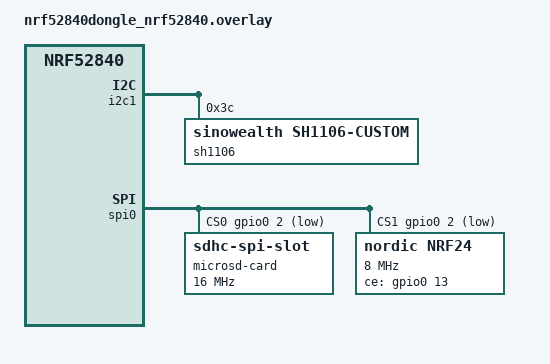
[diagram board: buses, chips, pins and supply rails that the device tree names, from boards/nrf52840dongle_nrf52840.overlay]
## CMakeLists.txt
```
# SPDX-License-Identifier: Apache-2.0

cmake_minimum_required(VERSION 3.20.0)

list(APPEND EXTRA_ZEPHYR_MODULES
 "/users/pdlsurya/documents/EmbeddedProjects/ZephyrRTOS")

find_package(Zephyr REQUIRED HINTS $ENV{ZEPHYR_BASE})
project(ipsp)

target_sources(app PRIVATE
  src/main.c
  src/net_ble/net_ble.c
  src/ntp_clock/ntp_clock.c
)

target_include_directories(app PRIVATE 
src/net_ble
src/ntp_clock)
```

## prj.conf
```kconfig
CONFIG_BT=y
CONFIG_LOG=y
CONFIG_BT_SMP=y
CONFIG_BT_PERIPHERAL=y
CONFIG_BT_CENTRAL=y
CONFIG_BT_L2CAP_DYNAMIC_CHANNEL=y
CONFIG_BT_DEVICE_NAME="IPSP Node-2"
CONFIG_NETWORKING=y
CONFIG_NET_IPV6=y
CONFIG_NET_UDP=y
CONFIG_TEST_RANDOM_GENERATOR=y
CONFIG_NET_LOG=y
CONFIG_NET_L2_BT=y
CONFIG_INIT_STACKS=y
CONFIG_NET_STATISTICS=y
CONFIG_NET_PKT_RX_COUNT=10
CONFIG_NET_PKT_TX_COUNT=10
CONFIG_NET_BUF_RX_COUNT=20
CONFIG_NET_BUF_TX_COUNT=20
CONFIG_NET_IF_UNICAST_IPV6_ADDR_COUNT=5
CONFIG_NET_IF_MCAST_IPV6_ADDR_COUNT=4
CONFIG_NET_MAX_CONTEXTS=6

CONFIG_NET_SHELL=y
CONFIG_BT_SHELL=y

CONFIG_NET_CONFIG_AUTO_INIT=y
CONFIG_NET_CONFIG_SETTINGS=y
CONFIG_NET_CONFIG_BT_NODE=y
CONFIG_SHELL_BACKEND_SERIAL_RX_RING_BUFFER_SIZE=256
CONFIG_USB_DEVICE_STACK=y
CONFIG_USB_DEVICE_PRODUCT="Surya's USB dongle"
CONFIG_USB_DEVICE_PID=0x0004
CONFIG_USB_DEVICE_INITIALIZE_AT_BOOT=y
CONFIG_MAIN_STACK_SIZE=2048
CONFIG_GPIO=y
CONFIG_DISPLAY=y
CONFIG_OLED_SH1106=y
CONFIG_SH1106_GFX=y

CONFIG_BT_GATT_CLIENT=y
CONFIG_BT_MAX_CONN=1

CONFIG_BT_L2CAP_TX_MTU=247
CONFIG_BT_BUF_ACL_RX_SIZE=251
```

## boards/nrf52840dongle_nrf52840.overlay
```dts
&i2c1 {
    status = "okay";
    sh1106:sh1106@3c{
        compatible="sinowealth,sh1106-custom";
        status="okay";
        reg=<0x3c>;
    }; 
};

&i2c0 {
    status = "disabled";
};

&spi1 {
    status = "disabled";
};

&spi0 {
    status = "okay";
    cs-gpios = < &gpio0 2 GPIO_ACTIVE_LOW >,< &gpio0 2 GPIO_ACTIVE_LOW >;
    microsd:microsd@0{
     compatible ="zephyr,sdhc-spi-slot";
     spi-max-frequency= <16000000>;
     status="okay";
     reg = <0>;
     label = "microsd-card";
    };
    
    nrf24:nrf24@1{
        compatible="nordic,nrf24";
        reg=<1>;
        spi-max-frequency=<8000000>;
        ce-gpios=<&gpio0 13 GPIO_ACTIVE_HIGH>;
        status="okay";
        label = "nrf24";
    };
};
```

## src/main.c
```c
/* main.c - Application main entry point */

/*
 * Copyright (c) 2015-2016 Intel Corporation
 *
 * SPDX-License-Identifier: Apache-2.0
 */

#include <zephyr/kernel.h>
#include <zephyr/init.h>
#include <zephyr/linker/sections.h>
#include <errno.h>
#include <stdio.h>
#include <zephyr/drivers/gpio.h>
#include <zephyr/net/net_pkt.h>
#include <zephyr/net/net_if.h>
#include <zephyr/net/net_core.h>
#include <zephyr/net/net_context.h>
#include <zephyr/net/udp.h>
#include <zephyr/console/console.h>
#include <net_ble.h>
#include <zephyr/net/dns_resolve.h>

#include <zephyr/bluetooth/bluetooth.h>
#include <zephyr/bluetooth/hci.h>
#include <zephyr/bluetooth/conn.h>
#include <zephyr/bluetooth/uuid.h>
#include <zephyr/bluetooth/gatt.h>
#include <zephyr/sys/byteorder.h>
#include <ntp_clock.h>
#include <sh1106_gfx.h>
#include <nordic_logo.h>

#define LED0_NODE DT_ALIAS(led0)

static const struct gpio_dt_spec adv_led = GPIO_DT_SPEC_GET(DT_ALIAS(led3), gpios);
static const struct gpio_dt_spec conn_led = GPIO_DT_SPEC_GET(DT_ALIAS(led2), gpios);

const struct device *sh1106 = DEVICE_DT_GET(DT_NODELABEL(sh1106));

/* Custom Service Variables */
#define BT_UUID_CUSTOM_SERVICE_VAL \
	BT_UUID_128_ENCODE(0x12345678, 0x1234, 0x5678, 0x1234, 0x56789abcdef0)

#define BT_UUID_CUSTOM_SERVICE BT_UUID_DECLARE_128(BT_UUID_CUSTOM_SERVICE_VAL)

#define BT_UUID_CHRC1 BT_UUID_DECLARE_128(BT_UUID_128_ENCODE(0x12345678, 0x1234, 0x5678, 0x1234, 0x56789abcdef2))

#define BT_UUID_CHRC2 BT_UUID_DECLARE_128(BT_UUID_128_ENCODE(0x12345678, 0x1234, 0x5678, 0x1234, 0x56789abcdef1))

struct in6_addr dest_addr6 = {{{0x20, 0x01, 0x0d, 0xb8, 0x00, 0x00, 0x00, 0x00, 0xef, 0xac, 0xb0, 0xff, 0xfe, 0x2f, 0xbd, 0xef}}};

static const struct bt_data ad[] = {
	BT_DATA_BYTES(BT_DATA_FLAGS, (BT_LE_AD_GENERAL | BT_LE_AD_NO_BREDR)),
	BT_DATA_BYTES(BT_DATA_UUID16_ALL, BT_UUID_16_ENCODE(BT_UUID_IPSS_VAL))};

static char write_msg[23] = "";
static char udp_msg[] = "Hello from 6LoWPAN node-2";
static uint8_t write_cnt;
static void start_scan(void);

static struct bt_conn *default_conn;
static struct bt_conn *connections[CONFIG_BT_MAX_CONN];
static uint8_t connection_cnt = 0;

static struct bt_uuid_128 uuid = BT_UUID_INIT_128(0);
static struct bt_gatt_discover_params discover_params;
static struct bt_gatt_subscribe_params subscribe_params;
static struct bt_gatt_write_params write_params;
static struct bt_gatt_read_params read_params;
static struct bt_gatt_exchange_params mtu_exchange_params;
bool mtu_exchange_done = false;

#define SCAN_INTERVAL 160	 /* 1000 ms */
#define SCAN_WINDOW 0x0030	 /* 30 ms */
#define INIT_INTERVAL 0x0020 /* 10 ms */
#define INIT_WINDOW 0x0020	 /* 10 ms */
#define CONN_INTERVAL 40	 /* 50 ms */
#define CONN_LATENCY 0
#define CONN_TIMEOUT 50

uint16_t chrc2_value_handle = 18;
uint16_t chrc1_value_handle = 20;
uint16_t chrc1_ccc_handle = 21;

uint8_t seconds;

#define DNS_TIMEOUT (2 * MSEC_PER_SEC)

void set_conn_led()
{
	gpio_pin_set_dt(&conn_led, 1);
	gpio_pin_set_dt(&adv_led, 0);
}

void set_adv_led()
{
	gpio_pin_set_dt(&adv_led, 1);
	gpio_pin_set_dt(&conn_led, 0);
}

static uint8_t notify_func(struct bt_conn *conn,
						   struct bt_gatt_subscribe_params *params,
						   const void *data, uint16_t length)
{
	if (!data)
	{
		printk("[UNSUBSCRIBED]\n");
		return BT_GATT_ITER_STOP;
	}
	((char *)data)[length] = 0;
	printk("[NOTIFICATION]length :%u <---> data: %s \n", length, ((char *)data));
	net_udp_send((char *)data, length, NULL);

	return BT_GATT_ITER_CONTINUE;
}

static void write_response(struct bt_conn *conn, uint8_t err,
						   struct bt_gatt_write_params *params)
{
	if (err)

		printk("Write error!\n");

	else
		printk("Write success!\n");
}

static uint8_t read_response(struct bt_conn *conn, uint8_t err,
							 struct bt_gatt_read_params *params,
							 const void *data, uint16_t length)
{
	if (data != NULL)
	{
		((char *)data)[length] = 0;
		printk("Read data:-> %s\n", (char *)data);
		return BT_GATT_ITER_CONTINUE;
	}
	return BT_GATT_ITER_STOP;
};

static uint8_t discover_func(struct bt_conn *conn,
							 const struct bt_gatt_attr *attr,
							 struct bt_gatt_discover_params *params)
{
	int err;

	if (!attr)
	{
		printk("Discover complete\n");
		(void)memset(params, 0, sizeof(*params));
		return BT_GATT_ITER_STOP;
	}

	printk("[ATTRIBUTE] handle %u\n", attr->handle);

	if (!bt_uuid_cmp(discover_params.uuid, BT_UUID_CUSTOM_SERVICE))
	{

		memcpy(&uuid, BT_UUID_CHRC2, sizeof(uuid));
		discover_params.uuid = &uuid.uuid;
		discover_params.start_handle = attr->handle + 1;
		discover_params.type = BT_GATT_DISCOVER_CHARACTERISTIC;

		err = bt_gatt_discover(conn, &discover_params);
		if (err)
		{
			printk("Characterstic Discover failed (err %d)\n", err);
		}
	}
	else if (!bt_uuid_cmp(discover_params.uuid,
						  BT_UUID_CHRC2))
	{

		write_params.handle = bt_gatt_attr_value_handle(attr);
		write_params.func = write_response;
		write_params.data = write_msg;
		write_params.offset = 0;

		memcpy(&uuid, BT_UUID_CHRC1, sizeof(uuid));
		discover_params.uuid = &uuid.uuid;
		discover_params.start_handle = attr->handle + 2;
		discover_params.type = BT_GATT_DISCOVER_CHARACTERISTIC;

		err = bt_gatt_discover(conn, &discover_params);
		if (err)
		{
			printk("Characterstics Discover failed (err %d)\n", err);
		}
	}
	else if (!bt_uuid_cmp(discover_params.uuid,
						  BT_UUID_CHRC1))
	{
		memcpy(&uuid, BT_UUID_GATT_CCC, sizeof(uuid));
		discover_params.uuid = &uuid.uuid;
		discover_params.start_handle = attr->handle + 2;
		discover_params.type = BT_GATT_DISCOVER_DESCRIPTOR;

		subscribe_params.value_handle = bt_gatt_attr_value_handle(attr);

		read_params.handle_count = 1;
		read_params.func = read_response;
		read_params.single.handle = bt_gatt_attr_value_handle(attr);
		read_params.single.offset = 0;

		err = bt_gatt_discover(conn, &discover_params);
		if (err)
		{
			printk("Descripter Discover failed (err %d)\n", err);
		}
	}
	else
	{
		subscribe_params.notify = notify_func;
		subscribe_params.value = BT_GATT_CCC_NOTIFY;
		subscribe_params.ccc_handle = attr->handle;

		err = bt_gatt_subscribe(conn, &subscribe_params);
		if (err && err != -EALREADY)
		{
			printk("Subscribe failed (err %d)\n", err);
		}
		else
		{
			printk("[SUBSCRIBED]\n");
		}

		return BT_GATT_ITER_STOP;
	}

	return BT_GATT_ITER_STOP;
}

static bool eir_found(struct bt_data *data, void *user_data)
{
	bt_addr_le_t *addr = user_data;
	int i;

	if (default_conn)
		return false;

	// printk("[AD]: %u data_len %u\n", data->type, data->data_len);

	switch (data->type)
	{
	case BT_DATA_UUID128_SOME:
	case BT_DATA_UUID128_ALL:
		if (data->data_len % sizeof(uint16_t) != 0U)
		{
			printk("AD malformed\n");
			return true;
		}

		for (i = 0; i < data->data_len; i += sizeof(uint16_t))
		{
			struct bt_conn_le_create_param create_param = {
				.options = BT_CONN_LE_OPT_NONE,
				.interval = INIT_INTERVAL,
				.window = INIT_WINDOW,
				.interval_coded = 0,
				.window_coded = 0,
				.timeout = 0,
			};
			struct bt_le_conn_param conn_param = {
				.interval_min = CONN_INTERVAL,
				.interval_max = CONN_INTERVAL,
				.latency = CONN_LATENCY,
				.timeout = CONN_TIMEOUT,
			};

			struct bt_uuid *uuid;
			struct bt_uuid_128 uuid128;
			int err;

			memcpy(&uuid128.val[0], &data->data[i], 16);
			uuid128.uuid.type = BT_UUID_TYPE_128;

			uuid = (struct bt_uuid *)&uuid128;

			if (bt_uuid_cmp(uuid, BT_UUID_CUSTOM_SERVICE))
			{
				printk("No match\n");
				continue;
			}

			err = bt_le_scan_stop();
			if (err)
			{
				printk("Stop LE scan failed (err %d)\n", err);
				continue;
			}

			err = bt_conn_le_create(addr, &create_param,
									&conn_param, &default_conn);
			if (err)
			{
				printk("Create conn failed (err %d)\n", err);
				start_scan();
			}

			return false;
		}
	}

	return true;
}

static void device_found(const bt_addr_le_t *addr, int8_t rssi, uint8_t type,
						 struct net_buf_simple *ad)
{
	char dev[BT_ADDR_LE_STR_LEN];

	bt_addr_le_to_str(addr, dev, sizeof(dev));
	// printk("[DEVICE]: %s, AD evt type %u, AD data len %u, RSSI %i\n",dev, type, ad->len, rssi);

	/* We're only interested in connectable events */
	if (type == BT_GAP_ADV_TYPE_ADV_IND ||
		type == BT_GAP_ADV_TYPE_ADV_DIRECT_IND)
	{
		bt_data_parse(ad, eir_found, (void *)addr);
	}
}

static void start_scan(void)
{
	int err;

	/* Use active scanning and disable duplicate filtering to handle any
	 * devices that might update their advertising data at runtime. */
	struct bt_le_scan_param scan_param = {
		.type = BT_LE_SCAN_TYPE_PASSIVE,
		.options = BT_LE_SCAN_OPT_NONE,
		.interval = SCAN_INTERVAL,
		.window = SCAN_WINDOW,
	};

	err = bt_le_scan_start(&scan_param, device_found);
	if (err)
	{
		printk("Scanning failed to start (err %d)\n", err);
		return;
	}

	printk("Scanning successfully started\n");
}

static void mtu_exchange_cb(struct bt_conn *conn, uint8_t err,
							struct bt_gatt_exchange_params *params)
{
	printk("%s: MTU exchange %s (%u)\n", __func__,
		   err == 0U ? "successful" : "failed",
		   bt_gatt_get_mtu(conn));
}

static int mtu_exchange(struct bt_conn *conn)
{
	int err;

	printk("%s: Current MTU = %u\n", __func__, bt_gatt_get_mtu(conn));

	mtu_exchange_params.func = mtu_exchange_cb;

	printk("%s: Exchange MTU...\n", __func__);
	err = bt_gatt_exchange_mtu(conn, &mtu_exchange_params);
	if (err)
	{
		printk("%s: MTU exchange failed (err %d)", __func__, err);
	}

	return err;
}

static void connected(struct bt_conn *conn, uint8_t conn_err)
{
	char addr[BT_ADDR_LE_STR_LEN];
	int err;
	struct bt_conn_info conn_info;

	bt_addr_le_to_str(bt_conn_get_dst(conn), addr, sizeof(addr));

	err = bt_conn_get_info(conn, &conn_info);
	if (err)
	{
		printk("Failed to get connection info (%d).\n", err);
		return;
	}

	if (conn_info.role == BT_CONN_ROLE_CENTRAL)
	{

		if (conn_err)
		{
			printk("Failed to connect to %s (%u)\n", addr, conn_err);

			connections[bt_conn_index(default_conn)] = NULL;
			bt_conn_unref(default_conn);
			default_conn = NULL;

			start_scan();
			return;
		}

		default_conn = NULL;

		printk("Connected: %s--Role=Central\n", addr);

		(void)mtu_exchange(conn);

		connections[bt_conn_index(conn)] = conn;

		connection_cnt++;

		// Start scanning for other devices
		if (connection_cnt < CONFIG_BT_MAX_CONN - 1)
			start_scan();

		memcpy(&uuid, BT_UUID_CUSTOM_SERVICE, sizeof(uuid));
		discover_params.uuid = &uuid.uuid;
		discover_params.func = discover_func;
		discover_params.start_handle = BT_ATT_FIRST_ATTRIBUTE_HANDLE;
		discover_params.end_handle = BT_ATT_LAST_ATTRIBUTE_HANDLE;
		discover_params.type = BT_GATT_DISCOVER_PRIMARY;

		err = bt_gatt_discover(conn, &discover_params);
		if (err)
		{
			printk("Service discover failed(err %d)\n", err);
			return;
		}

		/*
			subscribe_params.value_handle = chrc1_value_handle;
			subscribe_params.notify = notify_func;
			subscribe_params.value = BT_GATT_CCC_NOTIFY;
			subscribe_params.ccc_handle = chrc1_ccc_handle;

			err = bt_gatt_subscribe(conn, &subscribe_params);
			if (err && err != -EALREADY)
			{
				printk("Subscribe failed (err %d)\n", err);
			}
			else
			{
				printk("[SUBSCRIBED]\n");
			}
			*/
	}
	else
	{
		set_conn_led();
		printk("Connected to BLE 6LoWPAN Border Router:-> %s\n", addr);

		bt_le_adv_stop();
	}
}

static void disconnected(struct bt_conn *conn, uint8_t reason)
{
	char addr[BT_ADDR_LE_STR_LEN];
	struct bt_conn_info conn_info;

	bt_addr_le_to_str(bt_conn_get_dst(conn), addr, sizeof(addr));

	int err = bt_conn_get_info(conn, &conn_info);
	if (err)
	{
		printk("Failed to get connection info (%d).\n", err);
		return;
	}

	printk("Disconnected: %s (reason 0x%02x)\n", addr, reason);

	default_conn = NULL;
	if (conn_info.role == BT_CONN_ROLE_CENTRAL)
	{
		bt_conn_unref(conn);
		connections[bt_conn_index(conn)] = NULL;
		connection_cnt--;
		start_scan();
	}

	else
	{
		set_adv_led();
		err = bt_le_adv_start(BT_LE_ADV_CONN_NAME, ad, ARRAY_SIZE(ad), NULL, 0);
		if (err)
		{
			printk("Advertising failed to start (err %d)\n", err);
			return;
		}
	}
}

static bool le_param_req(struct bt_conn *conn, struct bt_le_conn_param *param)
{
	printk("%s: int (0x%04x, 0x%04x) lat %u to %u\n", __func__,
		   param->interval_min, param->interval_max, param->latency,
		   param->timeout);

	return true;
}

static void le_param_updated(struct bt_conn *conn, uint16_t interval,
							 uint16_t latency, uint16_t timeout)
{
	printk("%s: int 0x%04x lat %u to %u\n", __func__, interval,
		   latency, timeout);
}

BT_CONN_CB_DEFINE(conn_callbacks) = {
	.connected = connected,
	.disconnected = disconnected,
	.le_param_req = le_param_req,
	.le_param_updated = le_param_updated};

int leds_init()
{
	int err;

	if (!gpio_is_ready_dt(&adv_led))
		return 0;
	err = gpio_pin_configure_dt(&adv_led, GPIO_OUTPUT_ACTIVE);
	if (err < 0)
		return 0;

	if (!gpio_is_ready_dt(&conn_led))
		return 0;
	err = gpio_pin_configure_dt(&conn_led, GPIO_OUTPUT_INACTIVE);
	if (err < 0)
		return 0;
	return 0;
}

int main(void)
{

	net_ble_init();
	ntp_clock_init();

	/*
	err = bt_enable(NULL);

	if (err)
	{
		printk("Bluetooth init failed (err %d)\n", err);
		return 0;
	}
	printk("Bluetooth initialized\n");

   */

	// start_scan();
	/*
	read_params.handle_count = 1;
	read_params.func = read_response;
	read_params.single.handle = chrc1_value_handle;
	read_params.single.offset = 0;

	write_params.handle = chrc2_value_handle;
	write_params.func = write_response;
	write_params.data = write_msg;
	write_params.offset = 0;
*/
	while (1)
	{
		/*
		sprintf(write_msg, "Hi from Ble-dev->%d", write_cnt++);
		write_params.length = strlen(write_msg);

		for (uint8_t i = 0; i < CONFIG_BT_MAX_CONN; i++)
		{
			if (connections[i] != NULL)
			{
				if (bt_gatt_write(connections[i], &write_params))
					printk("Write queue failed\n");

				if (bt_gatt_read(connections[i], &read_params))
					printk("Read failed\n");
			}
		}
		*/
		k_msleep(500);
		ntp_update_time();
	}
	return 0;
}

void myThread1(void *, void *, void *)
{
/*
	if (!device_is_ready(sh1106))
	{
		printk("Failed to initialize sh1106 display\n");
		while (1)
			;
	}

	oled_displayOn(sh1106);
	oled_clearDisplay(sh1106);
	oled_printString(sh1106, "Powered by Zephyr OS.", 0, 0, 6, false);

	oled_display(sh1106);
	k_msleep(2000);
	oled_clearDisplay(sh1106);
	oled_displayBmp(sh1106, logo);
	oled_display(sh1106);
	oled_clearDisplay(sh1106);
*/
	struct sockaddr dest_sock_addr;
	net_sin6(&dest_sock_addr)->sin6_family = AF_INET6;
	net_sin6(&dest_sock_addr)->sin6_port = htons(4242);
	net_ipv6_addr_copy_raw(net_sin6(&dest_sock_addr)->sin6_addr.s6_addr,
						   dest_addr6.s6_addr);

	while (1)
	{
		net_udp_send(udp_msg, strlen(udp_msg), &dest_sock_addr);
		k_msleep(5000);
	}
}

K_THREAD_DEFINE(oled_tid, 1024,
				myThread1, NULL, NULL, NULL,
				4, 0, 0);
SYS_INIT(leds_init, POST_KERNEL, CONFIG_KERNEL_INIT_PRIORITY_DEFAULT);
```
